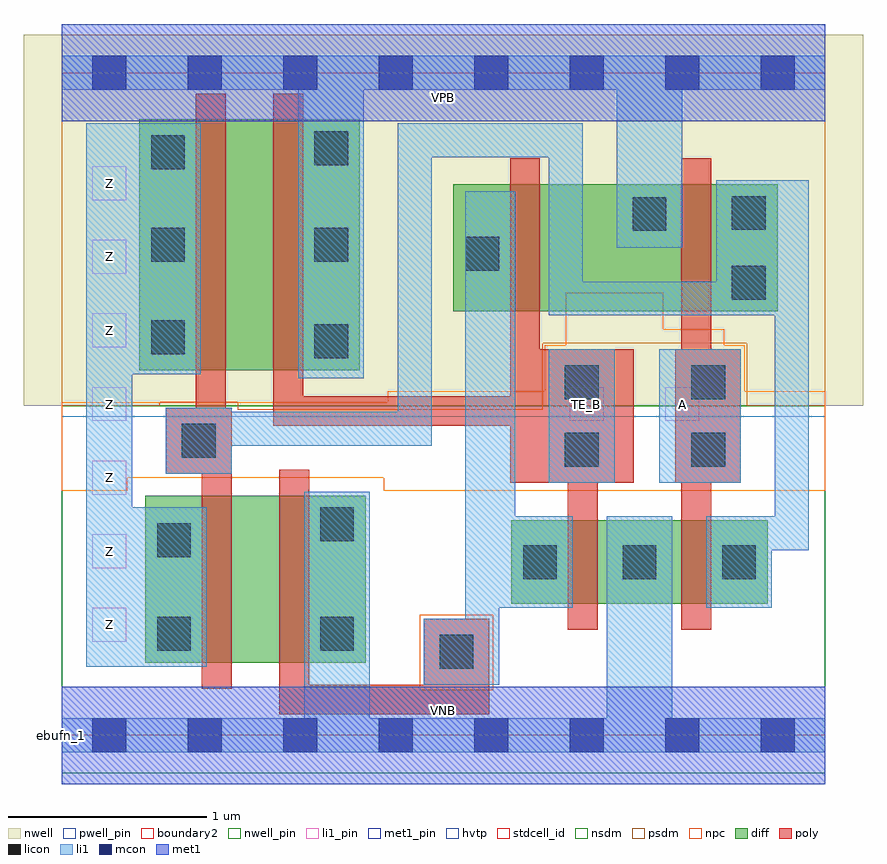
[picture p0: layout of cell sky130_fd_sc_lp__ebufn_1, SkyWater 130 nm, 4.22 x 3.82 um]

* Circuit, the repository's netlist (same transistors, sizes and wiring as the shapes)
* Copyright 2020 The SkyWater PDK Authors
*
* Licensed under the Apache License, Version 2.0 (the "License");
* you may not use this file except in compliance with the License.
* You may obtain a copy of the License at
*
*     https://www.apache.org/licenses/LICENSE-2.0
*
* Unless required by applicable law or agreed to in writing, software
* distributed under the License is distributed on an "AS IS" BASIS,
* WITHOUT WARRANTIES OR CONDITIONS OF ANY KIND, either express or implied.
* See the License for the specific language governing permissions and
* limitations under the License.
*
* SPDX-License-Identifier: Apache-2.0

.SUBCKT sky130_fd_sc_lp__ebufn_1 A TE_B VGND VNB VPB VPWR Z
*.PININFO A:I TE_B:I VGND:I VNB:I VPB:I VPWR:I Z:O
MMN0 Z net025 sndA VNB sky130_fd_pr__nfet_01v8 m=1 w=0.84U l=0.15U mult=1 sa=0.265
+ sb=0.265 sd=0.28 area=0.063 perim=1.14
MMN1 sndA net32 VGND VNB sky130_fd_pr__nfet_01v8 m=1 w=0.84U l=0.15U mult=1 sa=0.265
+ sb=0.265 sd=0.28 area=0.063 perim=1.14
MMIN1 net32 TE_B VGND VNB sky130_fd_pr__nfet_01v8 m=1 w=0.42U l=0.15U mult=1 sa=0.265
+ sb=0.265 sd=0.28 area=0.063 perim=1.14
MI6 net025 A VGND VNB sky130_fd_pr__nfet_01v8 m=1 w=0.42U l=0.15U mult=1 sa=0.265
+ sb=0.265 sd=0.28 area=0.063 perim=1.14
MMP0 VPWR TE_B sndTEB VPB sky130_fd_pr__pfet_01v8_hvt m=1 w=1.26U l=0.15U mult=1
+ sa=0.265 sb=0.265 sd=0.28 area=0.063 perim=1.14
MMP1 sndTEB net025 Z VPB sky130_fd_pr__pfet_01v8_hvt m=1 w=1.26U l=0.15U mult=1
+ sa=0.265 sb=0.265 sd=0.28 area=0.063 perim=1.14
MMIP1 net32 TE_B VPWR VPB sky130_fd_pr__pfet_01v8_hvt m=1 w=0.64U l=0.15U mult=1
+ sa=0.265 sb=0.265 sd=0.28 area=0.063 perim=1.14
MI5 net025 A VPWR VPB sky130_fd_pr__pfet_01v8_hvt m=1 w=0.64U l=0.15U mult=1 sa=0.265
+ sb=0.265 sd=0.28 area=0.063 perim=1.14
.ENDS sky130_fd_sc_lp__ebufn_1

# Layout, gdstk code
import gdstk
lib = gdstk.Library(unit=1e-6, precision=1e-09)
def R(c, l, rs):  # rectangles x0, y0, x1, y1
    for r in rs: c.add(gdstk.rectangle(r[:2], r[2:], *l))
def A(c, l, x, y, w, h, nx, ny, dx, dy):  # array of equal rectangles
    R(c, l, [(x+i*dx, y+j*dy, x+i*dx+w, y+j*dy+h) for i in range(nx) for j in range(ny)])
def P(c, l, *ps):  # polygons
    for p in ps: c.add(gdstk.Polygon(p, *l))
nwell_pin = (64, 16)
nwell = (64, 20)
diff = (65, 20)
poly = (66, 20)
licon = (66, 44)
li1_pin = (67, 16)
li1 = (67, 20)
mcon = (67, 44)
met1_pin = (68, 16)
met1 = (68, 20)
hvtp = (78, 44)
stdcell_id = (81, 4)
nsdm = (93, 44)
psdm = (94, 20)
npc = (95, 20)
pwell_pin = (122, 16)
boundary2 = (236, 0)

sky130_fd_sc_lp__ebufn_1 = lib.new_cell('sky130_fd_sc_lp__ebufn_1')
R(sky130_fd_sc_lp__ebufn_1, nwell_pin, [(0,3.085,3.84,3.33)])
R(sky130_fd_sc_lp__ebufn_1, nwell, [(-0.19,1.655,4.03,3.52)])
R(sky130_fd_sc_lp__ebufn_1, diff, [(0.42,0.365,1.53,1.205), (2.26,0.66,3.55,1.08), (0.39,1.835,1.5,3.095), (1.97,2.13,3.6,2.77)])
P(sky130_fd_sc_lp__ebufn_1, poly, [(0.855,1.645),(0.825,1.645),(0.825,3.225),(0.675,3.225),(0.675,1.645),(0.525,1.645),(0.525,1.315),(0.705,1.315),(0.705,0.235),(0.855,0.235)],
  [(2.15,0.585),(1.82,0.585),(1.82,0.255),(1.245,0.255),(1.245,1.335),(1.095,1.335),(1.095,0.105),(2.15,0.105)],
  [(2.875,1.94),(2.405,1.94),(2.405,2.9),(2.255,2.9),(2.255,1.705),(1.215,1.705),(1.215,3.225),(1.065,3.225),(1.065,1.555),(2.255,1.555),(2.255,1.27),(2.545,1.27),(2.545,0.53),(2.695,0.53),(2.695,1.27),(2.875,1.27)],
  [(3.415,1.94),(3.265,1.94),(3.265,2.9),(3.115,2.9),(3.115,1.94),(3.085,1.94),(3.085,1.27),(3.115,1.27),(3.115,0.53),(3.265,0.53),(3.265,1.27),(3.415,1.27)])
A(sky130_fd_sc_lp__ebufn_1, licon, 2.32, 0.785, 0.17, 0.17, 3, 1, 0.5, 0)
A(sky130_fd_sc_lp__ebufn_1, licon, 1.27, 1.895, 0.17, 0.17, 1, 3, 0, 0.485)
A(sky130_fd_sc_lp__ebufn_1, licon, 0.45, 1.915, 0.17, 0.17, 1, 3, 0, 0.465)
R(sky130_fd_sc_lp__ebufn_1, licon, [(1.9,0.335,2.07,0.505), (0.48,0.425,0.65,0.595), (1.3,0.425,1.47,0.595), (0.48,0.895,0.65,1.065), (1.3,0.975,1.47,1.145), (2.53,1.35,2.7,1.52), (3.165,1.35,3.335,1.52), (0.605,1.395,0.775,1.565), (2.53,1.69,2.7,1.86), (3.165,1.69,3.335,1.86), (3.37,2.19,3.54,2.36), (2.03,2.335,2.2,2.505), (2.87,2.535,3.04,2.705), (3.37,2.54,3.54,2.71)])
A(sky130_fd_sc_lp__ebufn_1, li1_pin, 0.155, 0.47, 0.17, 0.17, 1, 7, 0, 0.37)
R(sky130_fd_sc_lp__ebufn_1, li1_pin, [(2.555,1.58,2.725,1.75), (3.035,1.58,3.205,1.75)])
R(sky130_fd_sc_lp__ebufn_1, li1, [(2.45,1.27,2.78,1.94), (3.005,1.27,3.415,1.94)])
P(sky130_fd_sc_lp__ebufn_1, li1, [(1.19,1.795),(1.19,3.245),(0,3.245),(0,3.415),(3.84,3.415),(3.84,3.245),(3.12,3.245),(3.12,2.45),(2.79,2.45),(2.79,3.245),(1.52,3.245),(1.52,1.795)],
  [(1.22,0.085),(1.22,1.225),(1.55,1.225),(1.55,0.085),(2.74,0.085),(2.74,1.1),(3.07,1.1),(3.07,0.085),(3.84,0.085),(3.84,-0.085),(0,-0.085),(0,0.085)],
  [(0.125,3.075),(0.7,3.075),(0.7,1.815),(0.355,1.815),(0.355,1.145),(0.73,1.145),(0.73,0.345),(0.125,0.345)],
  [(3.57,0.93),(3.57,0.64),(3.24,0.64),(3.24,1.1),(3.585,1.1),(3.585,2.11),(2.45,2.11),(2.45,2.905),(1.86,2.905),(1.86,1.455),(0.855,1.455),(0.855,1.315),(0.525,1.315),(0.525,1.645),(0.855,1.645),(0.855,1.625),(1.69,1.625),(1.69,3.075),(2.62,3.075),(2.62,2.28),(3.29,2.28),(3.29,2.79),(3.755,2.79),(3.755,0.93)],
  [(2.03,2.735),(2.28,2.735),(2.28,1.1),(2.57,1.1),(2.57,0.64),(2.2,0.64),(2.2,0.255),(1.82,0.255),(1.82,0.585),(2.03,0.585)])
A(sky130_fd_sc_lp__ebufn_1, mcon, 0.155, -0.085, 0.17, 0.17, 8, 2, 0.48, 3.33)
R(sky130_fd_sc_lp__ebufn_1, met1_pin, [(0,0,3.84,0.245), (0,3.085,3.84,3.33)])
R(sky130_fd_sc_lp__ebufn_1, met1, [(0,-0.245,3.84,0.245), (0,3.085,3.84,3.575)])
R(sky130_fd_sc_lp__ebufn_1, hvtp, [(0,1.6,3.84,3.33)])
R(sky130_fd_sc_lp__ebufn_1, stdcell_id, [(0,0,3.84,3.33)])
R(sky130_fd_sc_lp__ebufn_1, nsdm, [(0,-0.19,3.84,1.655)])
P(sky130_fd_sc_lp__ebufn_1, psdm, [(3.84,3.52),(0,3.52),(0,1.655),(0.495,1.655),(0.495,1.675),(0.885,1.675),(0.885,1.635),(2.42,1.635),(2.42,1.97),(3.445,1.97),(3.445,1.655),(3.84,1.655)])
R(sky130_fd_sc_lp__ebufn_1, npc, [(1.8,0.225,2.17,0.605)])
P(sky130_fd_sc_lp__ebufn_1, npc, [(3.84,1.73),(3.435,1.73),(3.435,1.96),(3.33,1.96),(3.33,2.04),(3.025,2.04),(3.025,2.225),(2.535,2.225),(2.535,1.96),(2.43,1.96),(2.43,1.73),(1.64,1.73),(1.64,1.675),(0,1.675),(0,1.23),(0.33,1.23),(0.33,1.295),(1.62,1.295),(1.62,1.23),(3.84,1.23)])
R(sky130_fd_sc_lp__ebufn_1, pwell_pin, [(0,0,3.84,0.245)])
R(sky130_fd_sc_lp__ebufn_1, boundary2, [(0,0,3.84,3.33)])
sky130_fd_sc_lp__ebufn_1.add(gdstk.Label('VNB', (1.92,0.123), layer=64, texttype=59))
sky130_fd_sc_lp__ebufn_1.add(gdstk.Label('VPB', (1.92,3.208), layer=64, texttype=5))
sky130_fd_sc_lp__ebufn_1.add(gdstk.Label('ebufn_1', (0,0), layer=83, texttype=44))
sky130_fd_sc_lp__ebufn_1.add(gdstk.Label('VPWR', (1.92,3.208), layer=68, texttype=5))
sky130_fd_sc_lp__ebufn_1.add(gdstk.Label('VGND', (1.92,0.123), layer=68, texttype=5))
sky130_fd_sc_lp__ebufn_1.add(gdstk.Label('TE_B', (2.64,1.665), layer=67, texttype=5))
sky130_fd_sc_lp__ebufn_1.add(gdstk.Label('A', (3.12,1.665), layer=67, texttype=5))
sky130_fd_sc_lp__ebufn_1.add(gdstk.Label('Z', (0.24,0.555), layer=67, texttype=5))
sky130_fd_sc_lp__ebufn_1.add(gdstk.Label('Z', (0.24,0.925), layer=67, texttype=5))
sky130_fd_sc_lp__ebufn_1.add(gdstk.Label('Z', (0.24,1.295), layer=67, texttype=5))
sky130_fd_sc_lp__ebufn_1.add(gdstk.Label('Z', (0.24,1.665), layer=67, texttype=5))
sky130_fd_sc_lp__ebufn_1.add(gdstk.Label('Z', (0.24,2.035), layer=67, texttype=5))
sky130_fd_sc_lp__ebufn_1.add(gdstk.Label('Z', (0.24,2.405), layer=67, texttype=5))
sky130_fd_sc_lp__ebufn_1.add(gdstk.Label('Z', (0.24,2.775), layer=67, texttype=5))

lib.write_gds('sky130_fd_sc_lp__ebufn_1.gds')
